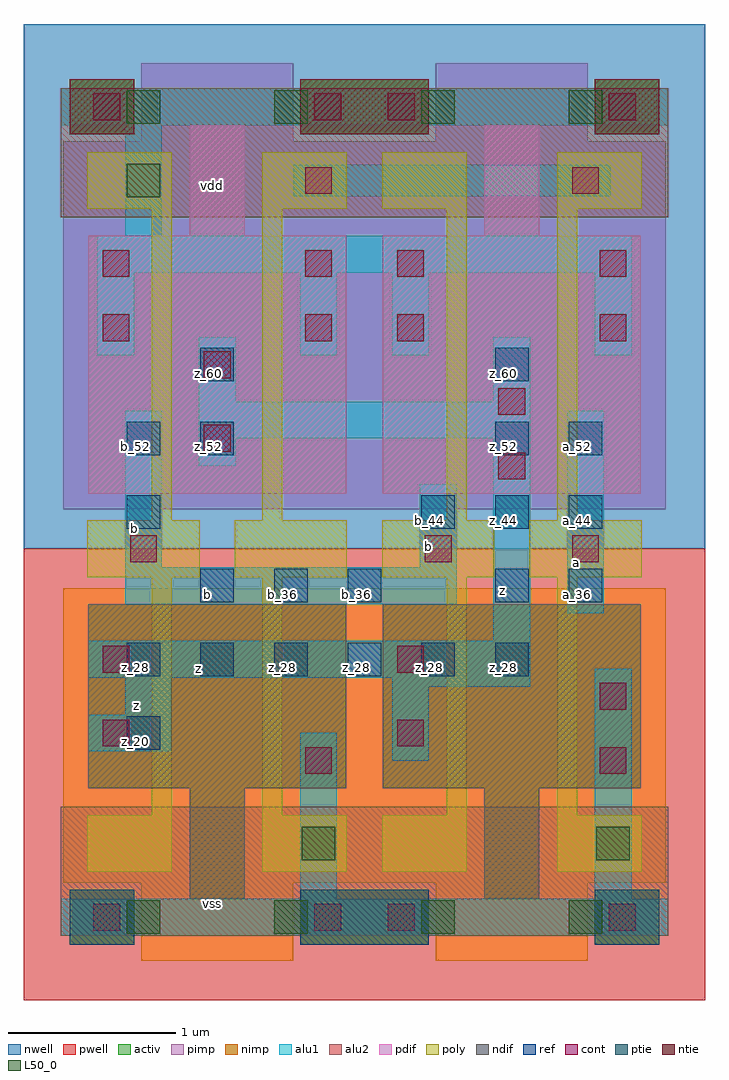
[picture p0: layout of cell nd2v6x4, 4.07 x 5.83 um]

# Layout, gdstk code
import gdstk
lib = gdstk.Library(unit=1e-6, precision=2.5e-09)
def R(c, l, rs):  # rectangles x0, y0, x1, y1
    for r in rs: c.add(gdstk.rectangle(r[:2], r[2:], *l))
def A(c, l, x, y, w, h, nx, ny, dx, dy):  # array of equal rectangles
    R(c, l, [(x+i*dx, y+j*dy, x+i*dx+w, y+j*dy+h) for i in range(nx) for j in range(ny)])
ndif = (3, 0)
pdif = (4, 0)
ntie = (5, 0)
ptie = (6, 0)
ref = (24, 0)
cont = (25, 0)
pwell = (41, 0)
nwell = (42, 0)
activ = (43, 0)
pimp = (44, 0)
nimp = (45, 0)
poly = (46, 0)
alu1 = (49, 0)
L50_0 = (50, 0)
alu2 = (51, 0)

nd2v6x4 = lib.new_cell('nd2v6x4')
R(nd2v6x4, ndif, [(0.715,0.11,1.045,0.77), (2.475,0.11,2.805,0.77), (0.11,0.77,1.65,1.87), (1.87,0.77,3.41,1.87)])
R(nd2v6x4, pdif, [(0.11,2.53,1.65,4.07), (1.87,2.53,3.41,4.07), (0.715,4.07,1.045,4.73), (2.475,4.07,2.805,4.73)])
R(nd2v6x4, ntie, [(0,4.675,0.385,5.005), (1.375,4.675,2.145,5.005), (3.135,4.675,3.52,5.005)])
R(nd2v6x4, ptie, [(0,-0.165,0.385,0.165), (1.375,-0.165,2.145,0.165), (3.135,-0.165,3.52,0.165)])
A(nd2v6x4, ref, 0.34, 1.44, 0.2, 0.2, 6, 1, 0.44, 0)
A(nd2v6x4, ref, 0.78, 1.88, 0.2, 0.2, 3, 1, 0.44, 0)
A(nd2v6x4, ref, 2.1, 2.32, 0.2, 0.2, 3, 1, 0.44, 0)
R(nd2v6x4, ref, [(0.34,1,0.54,1.2), (2.54,1.88,2.74,2.08), (2.98,1.88,3.18,2.08), (0.34,2.32,0.54,2.52), (0.34,2.76,0.54,2.96), (0.78,2.76,0.98,2.96), (2.54,2.76,2.74,2.96), (2.98,2.76,3.18,2.96), (0.78,3.2,0.98,3.4), (2.54,3.2,2.74,3.4)])
R(nd2v6x4, cont, [(0.14,-0.08,0.3,0.08), (1.46,-0.08,1.62,0.08), (1.9,-0.08,2.06,0.08), (3.22,-0.08,3.38,0.08), (1.405,0.855,1.565,1.015), (3.165,0.855,3.325,1.015), (0.195,1.02,0.355,1.18), (1.955,1.02,2.115,1.18), (3.165,1.24,3.325,1.4), (0.195,1.46,0.355,1.62), (1.955,1.46,2.115,1.62), (0.36,2.12,0.52,2.28), (2.12,2.12,2.28,2.28), (3,2.12,3.16,2.28), (2.56,2.615,2.72,2.775), (0.8,2.78,0.96,2.94), (2.56,3,2.72,3.16), (0.8,3.22,0.96,3.38), (0.195,3.44,0.355,3.6), (1.405,3.44,1.565,3.6), (1.955,3.44,2.115,3.6), (3.165,3.44,3.325,3.6), (0.195,3.825,0.355,3.985), (1.405,3.825,1.565,3.985), (1.955,3.825,2.115,3.985), (3.165,3.825,3.325,3.985), (1.405,4.32,1.565,4.48), (3,4.32,3.16,4.48), (0.14,4.76,0.3,4.92), (1.46,4.76,1.62,4.92), (1.9,4.76,2.06,4.92), (3.22,4.76,3.38,4.92)])
R(nd2v6x4, pwell, [(-0.275,-0.495,3.795,2.2)])
R(nd2v6x4, nwell, [(-0.275,2.2,3.795,5.335)])
R(nd2v6x4, activ, [(0,-0.165,0.385,0.165), (1.375,-0.165,2.145,0.165), (3.135,-0.165,3.52,0.165), (0.715,0.11,1.045,0.77), (2.475,0.11,2.805,0.77), (0.11,0.77,1.65,1.87), (1.87,0.77,3.41,1.87), (0.11,2.53,1.65,4.07), (1.87,2.53,3.41,4.07), (0.715,4.07,1.045,4.73), (2.475,4.07,2.805,4.73), (0,4.675,0.385,5.005), (1.375,4.675,2.145,5.005), (3.135,4.675,3.52,5.005)])
R(nd2v6x4, pimp, [(-0.04,2.435,3.56,4.635), (0.425,4.635,1.335,5.1), (2.185,4.635,3.095,5.1)])
R(nd2v6x4, nimp, [(0.425,-0.26,1.335,0.205), (2.185,-0.26,3.095,0.205), (-0.04,0.205,3.56,1.965)])
A(nd2v6x4, poly, 0.105, 2.03, 0.67, 0.34, 4, 1, 0.88, 0)
R(nd2v6x4, poly, [(0.105,0.27,0.61,0.61), (1.15,0.27,1.655,0.61), (1.865,0.27,2.37,0.61), (2.91,0.27,3.415,0.61), (0.49,0.61,0.61,2.03), (1.15,0.61,1.27,2.03), (2.25,0.61,2.37,2.03), (2.91,0.61,3.03,2.03), (0.49,2.37,0.61,4.23), (1.15,2.37,1.27,4.23), (2.25,2.37,2.37,4.23), (2.91,2.37,3.03,4.23), (0.105,4.23,0.61,4.57), (1.15,4.23,1.655,4.57), (1.865,4.23,2.37,4.57), (2.91,4.23,3.415,4.57)])
R(nd2v6x4, alu1, [(-0.055,-0.11,3.575,0.11), (1.375,0.11,1.595,1.1), (3.135,0.11,3.355,1.485), (1.925,0.935,2.145,1.375), (0.11,0.99,0.605,1.21), (0.33,1.21,0.605,1.43), (1.925,1.375,2.75,1.43), (0.11,1.43,2.75,1.65), (2.53,1.65,2.75,2.86), (2.97,1.815,3.19,3.025), (0.33,1.87,2.31,2.09), (0.33,2.09,0.55,3.025), (2.09,2.09,2.31,2.585), (0.77,2.695,0.99,2.86), (0.77,2.86,2.75,3.08), (0.77,3.08,0.99,3.465), (2.53,3.08,2.75,3.465), (0.165,3.355,0.385,3.85), (1.375,3.355,1.595,3.85), (1.925,3.355,2.145,3.85), (3.135,3.355,3.355,3.85), (0.165,3.85,3.355,4.07), (0.33,4.07,0.55,4.73), (1.335,4.305,3.23,4.495), (-0.055,4.73,3.575,4.95)])
A(nd2v6x4, L50_0, 0.34, -0.1, 0.2, 0.2, 4, 2, 0.88, 4.84)
R(nd2v6x4, L50_0, [(1.385,0.34,1.585,0.54), (3.145,0.34,3.345,0.54), (0.34,4.3,0.54,4.5)])
R(nd2v6x4, alu2, [(-0.055,-0.11,3.575,0.66), (-0.055,4.18,3.575,4.95)])
nd2v6x4.add(gdstk.Label('z', (0.3975,1.265), layer=49, texttype=0))
nd2v6x4.add(gdstk.Label('z', (0.77,1.485), layer=49, texttype=0))
nd2v6x4.add(gdstk.Label('a', (3.025,2.1175), layer=49, texttype=0))
nd2v6x4.add(gdstk.Label('z', (2.585,1.9525), layer=49, texttype=0))
nd2v6x4.add(gdstk.Label('b', (0.825,1.925), layer=49, texttype=0))
nd2v6x4.add(gdstk.Label('b', (2.145,2.2125), layer=49, texttype=0))
nd2v6x4.add(gdstk.Label('b', (0.385,2.3225), layer=49, texttype=0))
nd2v6x4.add(gdstk.Label('vss', (0.8525,0.0825), layer=51, texttype=0))
nd2v6x4.add(gdstk.Label('vdd', (0.8525,4.3725), layer=51, texttype=0))
nd2v6x4.add(gdstk.Label('b_36', (1.27,1.93), layer=24, texttype=0))
nd2v6x4.add(gdstk.Label('z_52', (0.83,2.81), layer=24, texttype=0))
nd2v6x4.add(gdstk.Label('z_60', (0.83,3.25), layer=24, texttype=0))
nd2v6x4.add(gdstk.Label('b_36', (1.71,1.93), layer=24, texttype=0))
nd2v6x4.add(gdstk.Label('b_44', (2.15,2.37), layer=24, texttype=0))
nd2v6x4.add(gdstk.Label('z_60', (2.59,3.25), layer=24, texttype=0))
nd2v6x4.add(gdstk.Label('z_52', (2.59,2.81), layer=24, texttype=0))
nd2v6x4.add(gdstk.Label('z_44', (2.59,2.37), layer=24, texttype=0))
nd2v6x4.add(gdstk.Label('z_36', (2.59,1.93), layer=24, texttype=0))
nd2v6x4.add(gdstk.Label('z_28', (2.59,1.49), layer=24, texttype=0))
nd2v6x4.add(gdstk.Label('a_52', (3.03,2.81), layer=24, texttype=0))
nd2v6x4.add(gdstk.Label('a_44', (3.03,2.37), layer=24, texttype=0))
nd2v6x4.add(gdstk.Label('a_36', (3.03,1.93), layer=24, texttype=0))
nd2v6x4.add(gdstk.Label('b_52', (0.39,2.81), layer=24, texttype=0))
nd2v6x4.add(gdstk.Label('b_44', (0.39,2.37), layer=24, texttype=0))
nd2v6x4.add(gdstk.Label('b_36', (0.83,1.93), layer=24, texttype=0))
nd2v6x4.add(gdstk.Label('z_28', (1.27,1.49), layer=24, texttype=0))
nd2v6x4.add(gdstk.Label('z_28', (1.71,1.49), layer=24, texttype=0))
nd2v6x4.add(gdstk.Label('z_28', (2.15,1.49), layer=24, texttype=0))
nd2v6x4.add(gdstk.Label('z_28', (0.83,1.49), layer=24, texttype=0))
nd2v6x4.add(gdstk.Label('z_28', (0.39,1.49), layer=24, texttype=0))
nd2v6x4.add(gdstk.Label('z_20', (0.39,1.05), layer=24, texttype=0))

lib.write_gds('nd2v6x4.gds')
